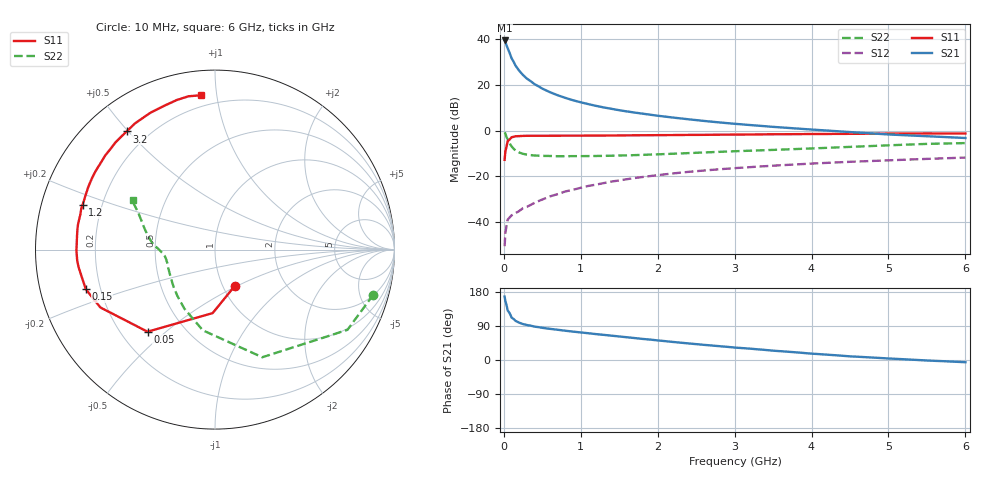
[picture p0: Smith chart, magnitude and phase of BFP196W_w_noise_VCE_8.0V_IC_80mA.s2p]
! Infineon Technologies  Discrete & RF Semiconductors
! BFP196W
! VCE =  8.0 V,  IC =  80 mA
! Common Emitter S-Parameters:  Jan 2017
# GHz  S  MA  R  50
!  f  S11  S21  S12  S22
! GHz  MAG  ANG  MAG  ANG  MAG  ANG  MAG  ANG
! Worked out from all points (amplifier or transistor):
!   77 points, 10 MHz to 6 GHz, reference 50 ohm
!   highest |S21| = 39.4 dB at 10 MHz (marker M1)
!   |S21| within 3 dB of that: start of sweep to 44.94 MHz
!   unconditionally stable (mu >= 1): 597.8 MHz to 3.258 GHz
!   at 130 MHz: K = 0.50, MSG = 33.1 dB, |S12| = -36.4 dB
!   at 2.2 GHz: K = 1.04, MAG = 11.0 dB, |S12| = -18.7 dB
!   at 6 GHz: K = 0.93, MSG = 4.3 dB, |S12| = -11.8 dB
!   lowest NFmin = 1.68 dB at 450 MHz
!   S11 on the Smith chart (normalised r, x): 10 MHz: 1.14, -0.48; 50 MHz: 0.31, -0.44; 150 MHz: 0.14, -0.15; 1.2 GHz: 0.13, +0.16; 3.2 GHz: 0.12, +0.49; 6 GHz: 0.13, +0.90
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0.01  0.2297 -60.9  92.92 167.5  0.003 80.7  0.9172 -15.9
0.02  0.3539 -92.1  86.84 155.2  0.0058 73.0  0.8629 -31.2
0.05  0.5922 -129.4  62.57 130.5  0.0114 51.7  0.6551 -66.3
0.1  0.7153 -153.2  38.04 111.9  0.0141 43.2  0.4545 -98.7
0.15  0.7527 -162.9  26.6 103.5  0.0157 45.5  0.3702 -117.5
0.2  0.7584 -168.7  20.24 98.4  0.0176 48.2  0.3325 -129.1
0.25  0.7663 -172.7  16.31 94.8  0.0203 50.0  0.3111 -137.6
0.3  0.7702 -175.5  13.63 92.3  0.0216 53.3  0.2987 -143.5
0.4  0.7721 -179.7  10.31 88.1  0.0265 58.3  0.2862 -151.7
0.5  0.7712 177.0  8.252 84.9  0.0313 60.9  0.2808 -156.9
0.6  0.7725 174.3  6.9 82.2  0.0366 61.4  0.2793 -160.5
0.7  0.7746 171.9  5.912 79.8  0.0411 63.7  0.2762 -163.1
0.9  0.7753 167.3  4.593 74.9  0.0511 65.2  0.2772 -166.8
1.1  0.779 163.3  3.781 70.6  0.062 65.3  0.2782 -169.5
1.2  0.7791 161.3  3.465 68.3  0.0663 64.8  0.2793 -170.8
1.6  0.7876 153.7  2.623 60.0  0.0869 62.9  0.288 -174.8
2.1  0.7975 144.5  2.018 49.7  0.1114 58.9  0.3081 -179.3
3.1  0.8197 128.3  1.366 31.4  0.1554 50.0  0.3592 172.4
3.2  0.8221 126.8  1.324 29.9  0.1594 49.1  0.364 171.5
4.1  0.8436 114.2  1.029 15.5  0.1941 41.5  0.4141 162.6
5.1  0.861 103.5  0.809 3.0  0.2276 33.4  0.4843 153.4
6  0.8634 95.2  0.69 -5.9  0.2578 26.4  0.5341 148.8
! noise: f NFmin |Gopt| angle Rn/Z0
0.45  1.68  0.56  -175  0.06
0.9  1.8  0.59  -169  0.08
1.9  2.67  0.7  -148  0.2
2.4  3.09  0.74  -143  0.32
